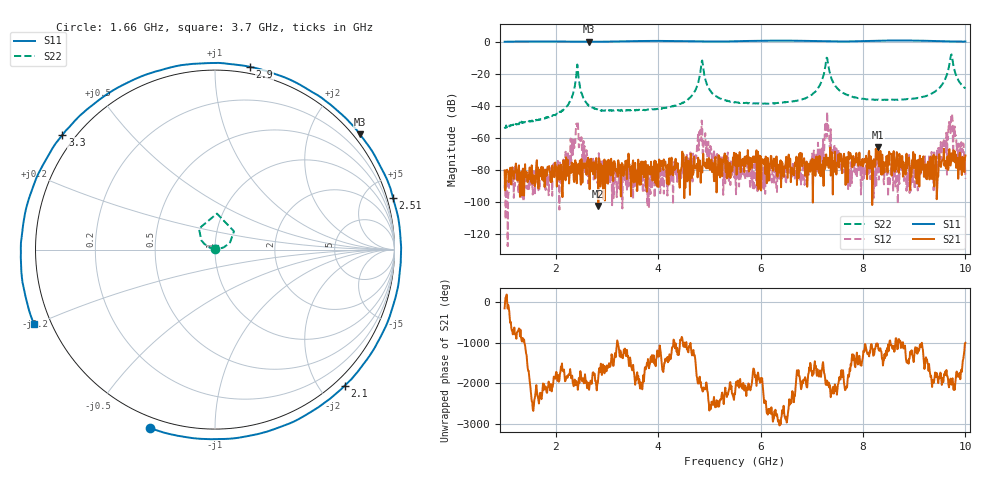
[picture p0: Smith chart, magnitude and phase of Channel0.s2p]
!Agilent Technologies,N5227A,US51270477,A.10.00.00
!File generated by LCAF-GAM-UPV software
!josevmart@iteam.upv.es
!S2P File: Measurements: S11, S21, S12, S22:
# Hz S  dB  R 50
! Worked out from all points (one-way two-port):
!   901 points, 1 GHz to 10 GHz, reference 50 ohm
!   highest |S21| = -65.71 dB at 8.29 GHz (marker M1); lowest = -102.3 dB at 2.83 GHz (marker M2)
!   lowest |S11| = 0.3 dB at 2.65 GHz (marker M3)
!   |S11| at or under -10 dB: nowhere
!   |S22| runs from -53.6 to -7.6 dB; largest |S21 - S12| = 0.0066
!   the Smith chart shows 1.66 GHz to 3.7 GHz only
!   S11 on the Smith chart (normalised r, x): 1.66 GHz: -0.04, -0.70; 2.1 GHz: -0.15, -2.32; 2.51 GHz: -0.82, +6.95; 2.9 GHz: -0.04, +1.21; 3.3 GHz: -0.03, +0.33; 3.7 GHz: -0.04, -0.20
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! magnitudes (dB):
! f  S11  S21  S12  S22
! 1 GHz  0.3  -80.1  -91.4  -52.9
! 1.66 GHz  0.5  -91.4  -92.4  -48.5
! 2.1 GHz  0.4  -76.5  -87.8  -43.7
! 2.41 GHz  0.3  -88.1  -50.8  -16.7
! 2.5 GHz  0.3  -73.0  -59.4  -31.7
! 2.51 GHz  0.3  -77.4  -67.8  -32.2
! 2.65 GHz  0.3  -78.8  -73.9  -39.8
! 2.83 GHz  0.3  -102.3  -80.4  -41.8
! 2.9 GHz  0.3  -77.1  -88.5  -42.4
! 3.3 GHz  0.5  -76.1  -103.8  -42.9
! 3.7 GHz  0.8  -74.6  -94.0  -42.3
! 4 GHz  0.8  -90.4  -89.7  -41.6
! 4.86 GHz  0.5  -81.4  -52.8  -11.4
! 5.5 GHz  0.6  -77.1  -72.6  -37.4
! 7 GHz  0.8  -79.7  -75.3  -32.8
! 7.3 GHz  0.5  -73.7  -43.6  -9.8
! 7.58 GHz  0.5  -71.0  -76.3  -31.1
! 8.29 GHz  1.0  -65.7  -74.0  -35.9
! 8.5 GHz  1.0  -76.9  -83.5  -36.1
! 9.42 GHz  0.7  -81.4  -74.0  -30.6
! 9.71 GHz  0.5  -77.1  -56.8  -9.4
! 10 GHz  0.4  -70.7  -85.2  -28.9
